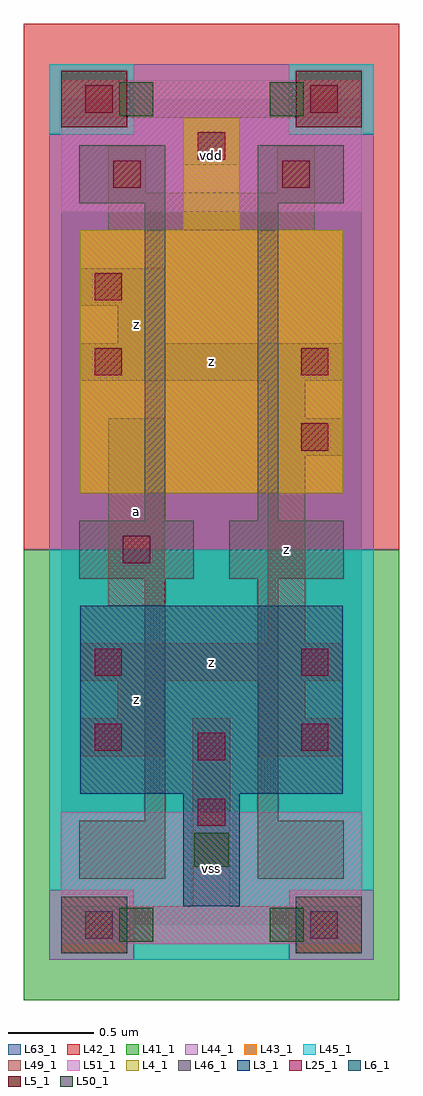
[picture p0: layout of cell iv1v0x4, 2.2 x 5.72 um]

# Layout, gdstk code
import gdstk
lib = gdstk.Library(unit=1e-6, precision=1e-09)
def R(c, l, rs):  # rectangles x0, y0, x1, y1
    for r in rs: c.add(gdstk.rectangle(r[:2], r[2:], *l))
L3_1 = (3, 1)
L4_1 = (4, 1)
L5_1 = (5, 1)
L6_1 = (6, 1)
L25_1 = (25, 1)
L41_1 = (41, 1)
L42_1 = (42, 1)
L43_1 = (43, 1)
L44_1 = (44, 1)
L45_1 = (45, 1)
L46_1 = (46, 1)
L49_1 = (49, 1)
L50_1 = (50, 1)
L51_1 = (51, 1)
L63_1 = (63, 1)

iv1v0x4 = lib.new_cell('iv1v0x4')
R(iv1v0x4, L3_1, [(0.715,0.11,1.045,0.77), (0.11,0.77,1.65,1.87)])
R(iv1v0x4, L4_1, [(0.11,2.53,1.65,4.07), (0.715,4.07,1.045,4.73)])
R(iv1v0x4, L5_1, [(0,4.675,0.385,5.005), (1.375,4.675,1.76,5.005)])
R(iv1v0x4, L6_1, [(0,-0.165,0.385,0.165), (1.375,-0.165,1.76,0.165)])
R(iv1v0x4, L25_1, [(0.14,-0.08,0.3,0.08), (1.46,-0.08,1.62,0.08), (0.8,0.58,0.96,0.74), (0.8,0.965,0.96,1.125), (0.195,1.02,0.355,1.18), (1.405,1.02,1.565,1.18), (0.195,1.46,0.355,1.62), (1.405,1.46,1.565,1.62), (0.36,2.12,0.52,2.28), (1.405,2.78,1.565,2.94), (0.195,3.22,0.355,3.38), (1.405,3.22,1.565,3.38), (0.195,3.66,0.355,3.82), (0.305,4.32,0.465,4.48), (1.295,4.32,1.455,4.48), (0.8,4.485,0.96,4.645), (0.14,4.76,0.3,4.92), (1.46,4.76,1.62,4.92)])
R(iv1v0x4, L41_1, [(-0.22,-0.44,1.98,2.2)])
R(iv1v0x4, L42_1, [(-0.22,2.2,1.98,5.28)])
R(iv1v0x4, L43_1, [(0,-0.165,0.385,0.165), (1.375,-0.165,1.76,0.165), (0.715,0.11,1.045,0.77), (0.11,0.77,1.65,1.87), (0.11,2.53,1.65,4.07), (0.715,4.07,1.045,4.73), (0,4.675,0.385,5.005), (1.375,4.675,1.76,5.005)])
R(iv1v0x4, L44_1, [(-0.07,-0.205,0.425,0.205), (1.335,-0.205,1.83,0.205), (-0.07,2.2,1.83,4.635), (0.425,4.635,1.335,5.045)])
R(iv1v0x4, L45_1, [(0.425,-0.205,1.335,0.205), (-0.07,0.205,1.83,2.2), (-0.07,4.635,0.425,5.045), (1.335,4.635,1.83,5.045)])
R(iv1v0x4, L46_1, [(0.105,0.27,0.61,0.61), (1.15,0.27,1.655,0.61), (0.49,0.61,0.61,2.03), (1.15,0.61,1.27,2.03), (0.105,2.03,0.775,2.37), (0.985,2.03,1.655,2.37), (0.49,2.37,0.61,4.23), (1.15,2.37,1.27,4.23), (0.105,4.23,0.61,4.57), (1.15,4.23,1.655,4.57)])
R(iv1v0x4, L49_1, [(0,-0.11,1.76,0.11), (0.77,0.11,0.99,1.21), (0.11,0.99,0.605,1.21), (1.155,0.99,1.65,1.21), (0.33,1.21,0.605,1.43), (1.155,1.21,1.43,1.43), (0.11,1.43,1.65,1.65), (1.21,1.65,1.43,2.75), (0.275,1.87,0.605,2.97), (1.21,2.75,1.65,2.97), (1.21,2.97,1.43,3.19), (0.11,3.19,1.65,3.41), (0.33,3.41,0.605,3.63), (0.11,3.63,0.605,3.85), (0.275,4.07,1.485,4.29), (0.275,4.29,0.495,4.565), (1.265,4.29,1.485,4.565), (0.715,4.455,1.045,4.73), (0,4.73,1.76,4.95)])
R(iv1v0x4, L50_1, [(0.34,-0.1,0.54,0.1), (1.22,-0.1,1.42,0.1), (0.78,0.34,0.98,0.54), (0.34,4.74,0.54,4.94), (1.22,4.74,1.42,4.94)])
R(iv1v0x4, L51_1, [(0,-0.11,1.76,0.66), (0,4.18,1.76,4.95)])
R(iv1v0x4, L63_1, [(0,0,1.76,4.84)])
iv1v0x4.add(gdstk.Label('z', (0.44,1.32), layer=49, texttype=1))
iv1v0x4.add(gdstk.Label('a', (0.44,2.42), layer=49, texttype=1))
iv1v0x4.add(gdstk.Label('z', (0.44,3.52), layer=49, texttype=1))
iv1v0x4.add(gdstk.Label('z', (0.88,1.54), layer=49, texttype=1))
iv1v0x4.add(gdstk.Label('z', (0.88,3.3), layer=49, texttype=1))
iv1v0x4.add(gdstk.Label('z', (1.32,2.2), layer=49, texttype=1))
iv1v0x4.add(gdstk.Label('vss', (0.88,0.33), layer=51, texttype=1))
iv1v0x4.add(gdstk.Label('vdd', (0.88,4.51), layer=51, texttype=1))

lib.write_gds('iv1v0x4.gds')
